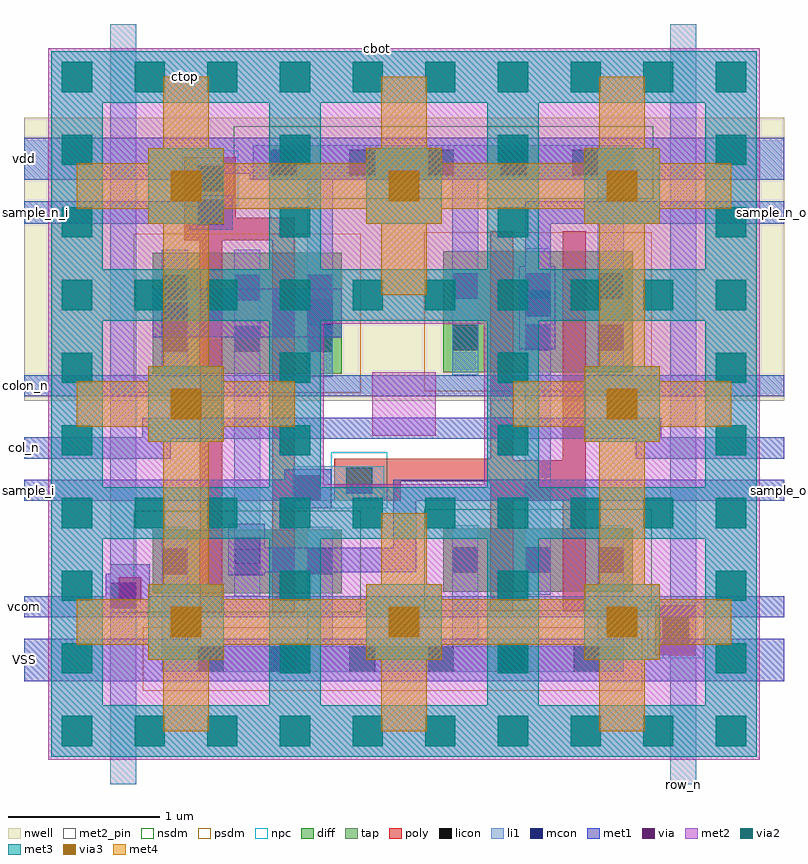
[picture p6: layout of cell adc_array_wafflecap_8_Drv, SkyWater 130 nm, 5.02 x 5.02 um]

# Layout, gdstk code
import gdstk
lib = gdstk.Library(unit=1e-6, precision=1e-09)
def R(c, l, rs):  # rectangles x0, y0, x1, y1
    for r in rs: c.add(gdstk.rectangle(r[:2], r[2:], *l))
def A(c, l, x, y, w, h, nx, ny, dx, dy):  # array of equal rectangles
    R(c, l, [(x+i*dx, y+j*dy, x+i*dx+w, y+j*dy+h) for i in range(nx) for j in range(ny)])
nwell = (64, 20)
diff = (65, 20)
tap = (65, 44)
poly = (66, 20)
licon = (66, 44)
li1 = (67, 20)
mcon = (67, 44)
met1 = (68, 20)
via = (68, 44)
met2_pin = (69, 16)
met2 = (69, 20)
via2 = (69, 44)
met3 = (70, 20)
via3 = (70, 44)
met4 = (71, 20)
nsdm = (93, 44)
psdm = (94, 20)
npc = (95, 20)

adc_array_wafflecap_8_dr = lib.new_cell('adc_array_wafflecap_8_Drv_25um2')
R(adc_array_wafflecap_8_dr, met2, [(0.16,0.16,4.86,1.98), (0.16,1.98,1.98,3.04), (3.04,1.98,4.86,3.04), (2.3,2.3,2.72,2.72), (0.16,3.04,4.86,4.86)])
A(adc_array_wafflecap_8_dr, via2, 0.25, 0.25, 0.2, 0.2, 10, 4, 0.48, 1.44)
A(adc_array_wafflecap_8_dr, via2, 0.25, 0.73, 0.2, 0.2, 4, 2, 1.44, 0.48)
A(adc_array_wafflecap_8_dr, via2, 0.25, 2.17, 0.2, 0.2, 4, 2, 1.44, 0.48)
A(adc_array_wafflecap_8_dr, via2, 0.25, 3.61, 0.2, 0.2, 4, 2, 1.44, 0.48)
A(adc_array_wafflecap_8_dr, met3, 0.18, 0.18, 4.66, 0.34, 1, 4, 0, 1.44)
A(adc_array_wafflecap_8_dr, met3, 0.18, 0.52, 0.34, 1.1, 4, 3, 1.44, 1.44)
A(adc_array_wafflecap_8_dr, met3, 0.82, 0.82, 0.5, 0.5, 3, 2, 1.44, 2.88)
R(adc_array_wafflecap_8_dr, met3, [(0.82,2.26,1.32,2.76), (3.7,2.26,4.2,2.76)])
A(adc_array_wafflecap_8_dr, via3, 0.97, 0.97, 0.2, 0.2, 3, 2, 1.44, 2.88)
R(adc_array_wafflecap_8_dr, via3, [(0.97,2.41,1.17,2.61), (3.85,2.41,4.05,2.61)])
A(adc_array_wafflecap_8_dr, met4, 0.92, 0.35, 0.3, 0.47, 3, 2, 1.44, 3.85)
A(adc_array_wafflecap_8_dr, met4, 0.82, 0.82, 0.5, 0.1, 3, 2, 1.44, 0.4)
A(adc_array_wafflecap_8_dr, met4, 0.82, 3.7, 0.5, 0.1, 3, 2, 1.44, 0.4)
R(adc_array_wafflecap_8_dr, met4, [(0.35,0.92,4.67,1.22), (0.92,1.32,1.22,2.26), (2.36,1.32,2.66,1.79), (3.8,1.32,4.1,2.26), (0.82,2.26,1.32,2.36), (3.7,2.26,4.2,2.36), (0.35,2.36,1.79,2.66), (3.23,2.36,4.67,2.66), (0.82,2.66,1.32,2.76), (3.7,2.66,4.2,2.76), (0.92,2.76,1.22,3.7), (3.8,2.76,4.1,3.7), (2.36,3.23,2.66,3.7), (0.35,3.8,4.67,4.1)])
adc_array_wafflecap_8_dr.add(gdstk.Label('symmetry_metal', (2.72,2.3), layer=69, texttype=5))

adc_array_circuit_150n_d = lib.new_cell('adc_array_circuit_150n_Drv')
R(adc_array_circuit_150n_d, nwell, [(1.17,4.74,5.21,6.61)])
R(adc_array_circuit_150n_d, diff, [(1.55,3.47,2.8,3.89), (3.47,3.48,4.72,3.9), (1.55,4.92,2.8,5.72), (3.47,4.93,4.72,5.73)])
R(adc_array_circuit_150n_d, tap, [(1.61,2.95,4.66,3.12), (2.21,6.2,4.73,6.43)])
R(adc_array_circuit_150n_d, poly, [(4.87,3.06,5.14,3.39), (1.86,3.34,2.01,5.8), (2.34,3.34,2.49,5.8), (3.78,3.35,3.93,4.08), (4.26,3.35,4.41,4.08), (2.75,4.08,3.19,4.21), (3.78,4.08,4.41,4.21), (2.75,4.21,4.41,4.35), (2.75,4.35,3.93,4.36), (4.26,4.35,4.41,5.86), (3.78,4.36,3.93,5.86), (1.76,5.8,2.49,5.95), (1.76,5.95,2.1,6.35)])
A(adc_array_circuit_150n_d, licon, 2.33, 2.95, 0.17, 0.17, 3, 2, 0.52, 3.28)
A(adc_array_circuit_150n_d, licon, 1.61, 3.595, 0.17, 0.17, 3, 2, 0.48, 1.47)
A(adc_array_circuit_150n_d, licon, 3.53, 3.605, 0.17, 0.17, 3, 2, 0.48, 1.47)
A(adc_array_circuit_150n_d, licon, 1.61, 5.405, 0.17, 0.17, 3, 1, 0.48, 0)
A(adc_array_circuit_150n_d, licon, 3.53, 5.415, 0.17, 0.17, 3, 1, 0.48, 0)
R(adc_array_circuit_150n_d, licon, [(1.85,2.95,2.02,3.12), (3.84,2.95,4.01,3.12), (4.33,2.95,4.5,3.12), (4.92,3.14,5.09,3.31), (2.83,4.13,3,4.3), (1.845,6.125,2.015,6.295), (3.85,6.23,4.02,6.4), (4.32,6.23,4.49,6.4)])
R(adc_array_circuit_150n_d, li1, [(1.27,2.85,1.44,6.64), (4.97,2.85,5.14,3.06), (1.61,2.95,4.66,3.12), (4.9,3.06,5.14,3.39), (1.61,3.12,1.78,3.91), (2.57,3.12,2.74,3.91), (3.53,3.12,3.7,3.92), (4.49,3.12,4.66,3.92), (4.97,3.39,5.14,6.64), (2.09,3.45,2.26,5.74), (4.01,3.46,4.18,5.75), (2.48,4.08,3.08,4.31), (1.61,4.9,1.78,5.74), (2.57,4.9,2.74,6.2), (3.53,4.91,3.7,6.2), (4.49,4.91,4.66,6.2), (1.84,5.9,2.02,6.38), (2.21,6.2,4.73,6.43)])
A(adc_array_circuit_150n_d, mcon, 2.33, 2.95, 0.17, 0.17, 3, 2, 0.52, 3.28)
R(adc_array_circuit_150n_d, mcon, [(1.85,2.95,2.02,3.12), (3.84,2.95,4.01,3.12), (4.33,2.95,4.5,3.12), (1.27,3.37,1.44,3.54), (2.09,3.665,2.26,3.835), (2.49,4.08,2.66,4.25), (1.61,5.22,1.78,5.39), (2.57,5.24,2.74,5.41), (4.01,5.3,4.18,5.47), (1.85,5.9,2.02,6.07), (3.85,6.23,4.02,6.4), (4.32,6.23,4.49,6.4)])
R(adc_array_circuit_150n_d, met1, [(1.17,2.89,5.21,3.17), (1.17,3.31,5.21,3.45), (1.24,3.45,1.53,3.6), (2.05,3.59,2.29,3.61), (1.27,3.6,1.53,3.66), (2.05,3.61,3.29,3.77), (2.05,3.77,2.29,3.93), (3.14,3.77,3.29,4.08), (2.42,4.03,2.73,4.08), (1.17,4.08,2.73,4.22), (3.14,4.08,5.21,4.22), (2.42,4.22,2.73,4.29), (1.17,4.36,1.67,4.49), (4.74,4.36,5.21,4.49), (1.17,4.49,5.21,4.5), (1.48,4.5,4.91,4.63), (1.17,4.77,5.21,4.91), (3.97,5.08,4.21,5.63), (1.55,5.16,2.8,5.48), (4.01,5.63,4.18,5.91), (1.79,5.87,2.08,5.91), (1.17,5.91,2.08,6.06), (4.01,5.91,5.21,6.06), (1.79,6.06,2.08,6.1), (1.17,6.2,1.68,6.24), (2.19,6.2,5.21,6.24), (1.17,6.24,5.21,6.48)])
R(adc_array_circuit_150n_d, via, [(1.325,3.425,1.475,3.575)])
R(adc_array_circuit_150n_d, met2_pin, [(1.27,3.34,1.53,3.66)])
R(adc_array_circuit_150n_d, met2, [(1.27,3.34,1.53,3.66)])
R(adc_array_circuit_150n_d, nsdm, [(1.425,3.345,2.925,4.015), (3.345,3.355,4.845,4.025), (2.085,6.075,4.855,6.555)])
R(adc_array_circuit_150n_d, psdm, [(1.485,2.825,4.785,3.245), (1.425,4.795,2.925,5.845), (3.345,4.805,4.845,5.855)])
R(adc_array_circuit_150n_d, npc, [(4.82,3.04,5.19,3.41), (2.73,4.03,3.1,4.4), (1.745,6.025,2.115,6.395)])
adc_array_circuit_150n_d.add(gdstk.Label('VDD', (1.17,6.34), layer=68, texttype=16))
adc_array_circuit_150n_d.add(gdstk.Label('VSS', (1.17,3.03), layer=68, texttype=16))
adc_array_circuit_150n_d.add(gdstk.Label('vcom', (1.17,3.38), layer=68, texttype=16))
adc_array_circuit_150n_d.add(gdstk.Label('vcom', (1.4,3.5), layer=69, texttype=16))
adc_array_circuit_150n_d.add(gdstk.Label('col_n', (1.17,4.43), layer=68, texttype=16))
adc_array_circuit_150n_d.add(gdstk.Label('colon_n', (1.17,4.84), layer=68, texttype=16))
adc_array_circuit_150n_d.add(gdstk.Label('row_n', (5.055,2.85), layer=67, texttype=16))
adc_array_circuit_150n_d.add(gdstk.Label('sample_n_i', (1.17,5.985), layer=68, texttype=16))
adc_array_circuit_150n_d.add(gdstk.Label('sample_i', (1.17,4.15), layer=68, texttype=16))
adc_array_circuit_150n_d.add(gdstk.Label('sample_o', (5.21,4.15), layer=68, texttype=16))
adc_array_circuit_150n_d.add(gdstk.Label('sample_n_o', (5.21,5.985), layer=68, texttype=16))

c_adc_array_wafflecap_8_dr = lib.new_cell('adc_array_wafflecap_8_Drv')
R(c_adc_array_wafflecap_8_dr, nwell, [(0,2.53,0.47,4.4), (4.51,2.53,5.02,4.4)])
R(c_adc_array_wafflecap_8_dr, li1, [(0.57,0,0.74,0.64), (4.27,0,4.44,0.64), (0.57,4.43,0.74,5.02), (4.27,4.43,4.44,5.02)])
R(c_adc_array_wafflecap_8_dr, met1, [(0,0.68,0.47,0.96), (4.51,0.68,5.02,0.96), (0,1.1,0.47,1.24), (4.51,1.1,5.02,1.24), (0,1.87,0.47,2.01), (4.51,1.87,5.02,2.01), (0,2.15,0.47,2.29), (4.51,2.15,5.02,2.29), (0,2.56,0.47,2.7), (4.51,2.56,5.02,2.7), (0,3.7,0.47,3.85), (4.51,3.7,5.02,3.85), (0,3.99,0.47,4.27), (4.51,3.99,5.02,4.27)])
R(c_adc_array_wafflecap_8_dr, met2, [(2.09,4.84,2.58,4.86)])
R(c_adc_array_wafflecap_8_dr, met4, [(0.92,4.54,1.22,4.67)])
c_adc_array_wafflecap_8_dr.add(gdstk.Reference(adc_array_wafflecap_8_dr, (0,0)))
c_adc_array_wafflecap_8_dr.add(gdstk.Reference(adc_array_circuit_150n_d, (-0.7,-2.21)))
c_adc_array_wafflecap_8_dr.add(gdstk.Label('cbot', (2.335,4.86), layer=69, texttype=5))
c_adc_array_wafflecap_8_dr.add(gdstk.Label('ctop', (1.07,4.67), layer=71, texttype=16))
c_adc_array_wafflecap_8_dr.add(gdstk.Label('vdd', (0,4.13), layer=68, texttype=16))
c_adc_array_wafflecap_8_dr.add(gdstk.Label('colon_n', (0,2.63), layer=68, texttype=16))
c_adc_array_wafflecap_8_dr.add(gdstk.Label('col_n', (0,2.22), layer=68, texttype=16))
c_adc_array_wafflecap_8_dr.add(gdstk.Label('vcom', (0,1.17), layer=68, texttype=16))
c_adc_array_wafflecap_8_dr.add(gdstk.Label('VSS', (0,0.82), layer=68, texttype=16))
c_adc_array_wafflecap_8_dr.add(gdstk.Label('row_n', (4.355,0), layer=67, texttype=16))
c_adc_array_wafflecap_8_dr.add(gdstk.Label('sample_i', (0,1.94), layer=68, texttype=16))
c_adc_array_wafflecap_8_dr.add(gdstk.Label('sample_n_i', (0,3.775), layer=68, texttype=16))
c_adc_array_wafflecap_8_dr.add(gdstk.Label('sample_n_o', (5.02,3.775), layer=68, texttype=16))
c_adc_array_wafflecap_8_dr.add(gdstk.Label('sample_o', (5.02,1.94), layer=68, texttype=16))

lib.write_gds('adc_array_wafflecap_8_Drv.gds')
